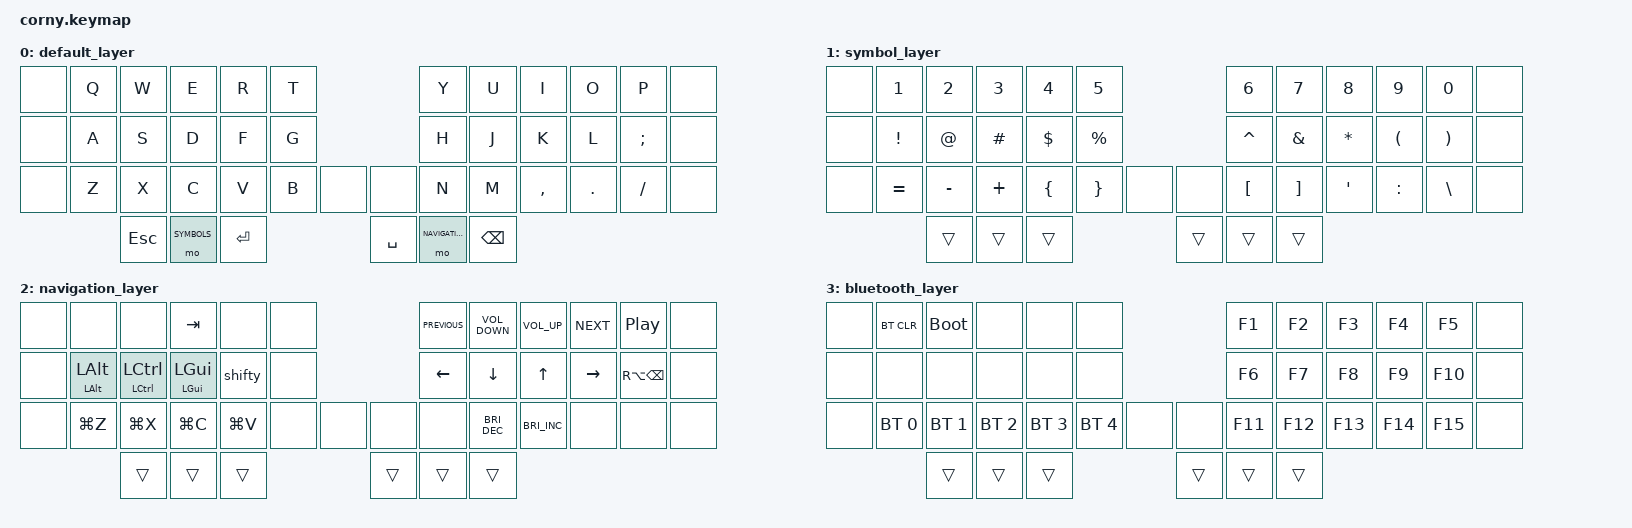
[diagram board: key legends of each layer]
#include <behaviors.dtsi>
#include <dt-bindings/zmk/keys.h>
#include <dt-bindings/zmk/bt.h>
#include <dt-bindings/zmk/ext_power.h>

#define DEFAULT 0
#define SYMBOLS 1
#define NAVIGATION 2
#define BLUETOOTH 3

#define HYPER(key) LS(LC(LA(LG(key))))

&mt {
    tapping-term-ms = <200>;
    quick-tap-ms = <150>;
};

/ {
    behaviors {
        isk: intuitive_sk {
            compatible = "zmk,behavior-hold-tap";
            #binding-cells = <2>;
            flavor = "balanced";
            tapping-term-ms = <200>;
            bindings = <&kp>, <&sk>;
        };
        shifty: shift_caps_word {
            compatible = "zmk,behavior-tap-dance";
            #binding-cells = <0>;
            tapping-term-ms = <150>;
            bindings = <&isk LSHIFT LSHIFT>, <&caps_word>;
        };
    };

    combos {
        compatible = "zmk,combos";
        combo_esc {
            timeout-ms = <50>;
            key-positions = <3 4>;
            bindings = <&kp ESC>;
        };
        combo_grave {
            timeout-ms = <50>;
            key-positions = <2 3>;
            bindings = <&kp GRAVE>;
        };
    };

    conditional_layers {
        compatible = "zmk,conditional-layers";
        tri_layer {
            if-layers = <1 2>;
            then-layer = <3>;
        };
    };

    keymap {
        compatible = "zmk,keymap";
        default_layer {
            bindings = <
&none &kp Q  &kp W    &kp E      &kp R     &kp T                     &kp Y      &kp U     &kp I     &kp O    &kp P    &none
&none &kp A  &kp S    &kp D      &kp F     &kp G                     &kp H      &kp J     &kp K     &kp L    &kp SEMI &none
&none &kp Z  &kp X    &kp C      &kp V     &kp B  &none      &none   &kp N      &kp M     &kp COMMA &kp DOT  &kp FSLH &none
             &kp ESC &mo SYMBOLS &kp RET                  &kp SPACE  &mo NAVIGATION &kp BSPC
            >;
        };

        symbol_layer {
            bindings = <
&none &kp N1    &kp N2    &kp N3   &kp N4   &kp N5               &kp N6       &kp N7   &kp N8       &kp N9    &kp N0   &none
&none &kp EXCL  &kp AT    &kp HASH &kp DLLR &kp PRCNT            &kp CARET    &kp AMPS &kp ASTERISK &kp LPAR  &kp RPAR &none
&none &kp EQUAL &kp MINUS &kp PLUS &kp LBRC &kp RBRC &none &none &kp LBKT     &kp RBKT &kp SQT      &kp COLON &kp BSLH &none
                               &trans      &trans   &trans                  &trans    &trans   &trans
            >;
        };

        navigation_layer {
            bindings = <
&none &none          &none            &kp TAB        &none     &none               &kp C_PREVIOUS &kp C_VOLUME_DOWN    &kp C_VOLUME_UP      &kp C_NEXT &kp C_PLAY_PAUSE &none
&none &isk LALT LALT &isk LCTRL LCTRL &isk LGUI LGUI &shifty   &none               &kp LEFT       &kp DOWN             &kp UP               &kp RIGHT  &kp RA(BSPC)     &none
&none &kp LG(Z)      &kp LG(X)        &kp LG(C)      &kp LG(V) &none &none   &none &none          &kp C_BRIGHTNESS_DEC &kp C_BRIGHTNESS_INC &none      &none            &none
                                   &trans &trans &trans                                 &trans &trans &trans
            >;
        };

        bluetooth_layer {
            bindings = <
&none &bt BT_CLR   &bootloader  &none        &none        &none                    &kp F1  &kp F2  &kp F3  &kp F4  &kp F5 &none
&none &none        &none        &none        &none        &none                    &kp F6  &kp F7  &kp F8  &kp F9  &kp F10 &none
&none &bt BT_SEL 0 &bt BT_SEL 1 &bt BT_SEL 2 &bt BT_SEL 3 &bt BT_SEL 4 &none &none &kp F11 &kp F12 &kp F13 &kp F14 &kp F15 &none
            &trans &trans &trans                                                   &trans &trans &trans

            >;
        };
    };
};
